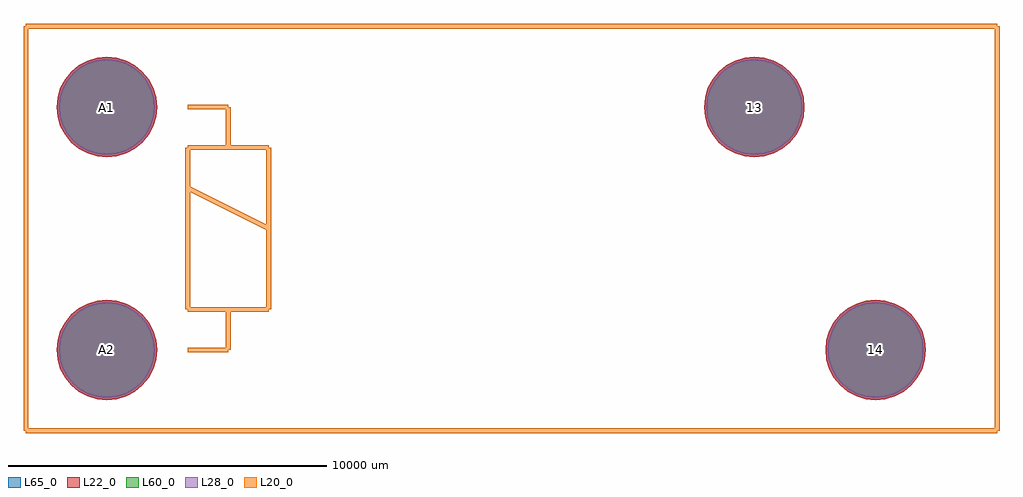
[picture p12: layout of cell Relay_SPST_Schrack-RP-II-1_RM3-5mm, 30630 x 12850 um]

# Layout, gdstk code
import gdstk
lib = gdstk.Library(unit=1e-6, precision=1e-09)
def P(c, l, *ps):  # polygons
    for p in ps: c.add(gdstk.Polygon(p, *l))
L20_0 = (20, 0)
L22_0 = (22, 0)
L28_0 = (28, 0)
L60_0 = (60, 0)
L65_0 = (65, 0)

relay_spst_schrack_rp_ii = lib.new_cell('Relay_SPST_Schrack-RP-II-1_RM3-5mm')
P(relay_spst_schrack_rp_ii, L22_0, [(25704.87,0),(25674.609,307.242),(25584.99,602.677),(25439.457,874.951),(25243.601,1113.601),(25004.951,1309.457),(24732.677,1454.99),(24437.242,1544.609),(24130,1574.87),(23822.758,1544.609),(23527.323,1454.99),(23255.049,1309.457),(23016.399,1113.601),(22820.543,874.951),(22675.01,602.677),(22585.391,307.242),(22555.13,0),(22585.391,-307.242),(22675.01,-602.677),(22820.543,-874.951),(23016.399,-1113.601),(23255.049,-1309.457),(23527.323,-1454.99),(23822.758,-1544.609),(24130,-1574.87),(24437.242,-1544.609),(24732.677,-1454.99),(25004.951,-1309.457),(25243.601,-1113.601),(25439.457,-874.951),(25584.99,-602.677),(25674.609,-307.242)],
  [(21894.87,7620),(21864.609,7927.242),(21774.99,8222.677),(21629.457,8494.951),(21433.601,8733.601),(21194.951,8929.457),(20922.677,9074.99),(20627.242,9164.609),(20320,9194.87),(20012.758,9164.609),(19717.323,9074.99),(19445.049,8929.457),(19206.399,8733.601),(19010.543,8494.951),(18865.01,8222.677),(18775.391,7927.242),(18745.13,7620),(18775.391,7312.758),(18865.01,7017.323),(19010.543,6745.049),(19206.399,6506.399),(19445.049,6310.543),(19717.323,6165.01),(20012.758,6075.391),(20320,6045.13),(20627.242,6075.391),(20922.677,6165.01),(21194.951,6310.543),(21433.601,6506.399),(21629.457,6745.049),(21774.99,7017.323),(21864.609,7312.758)],
  [(1574.87,0),(1544.609,307.242),(1454.99,602.677),(1309.457,874.951),(1113.601,1113.601),(874.951,1309.457),(602.677,1454.99),(307.242,1544.609),(0,1574.87),(-307.242,1544.609),(-602.677,1454.99),(-874.951,1309.457),(-1113.601,1113.601),(-1309.457,874.951),(-1454.99,602.677),(-1544.609,307.242),(-1574.87,0),(-1544.609,-307.242),(-1454.99,-602.677),(-1309.457,-874.951),(-1113.601,-1113.601),(-874.951,-1309.457),(-602.677,-1454.99),(-307.242,-1544.609),(0,-1574.87),(307.242,-1544.609),(602.677,-1454.99),(874.951,-1309.457),(1113.601,-1113.601),(1309.457,-874.951),(1454.99,-602.677),(1544.609,-307.242)],
  [(1574.87,7620),(1544.609,7927.242),(1454.99,8222.677),(1309.457,8494.951),(1113.601,8733.601),(874.951,8929.457),(602.677,9074.99),(307.242,9164.609),(0,9194.87),(-307.242,9164.609),(-602.677,9074.99),(-874.951,8929.457),(-1113.601,8733.601),(-1309.457,8494.951),(-1454.99,8222.677),(-1544.609,7927.242),(-1574.87,7620),(-1544.609,7312.758),(-1454.99,7017.323),(-1309.457,6745.049),(-1113.601,6506.399),(-874.951,6310.543),(-602.677,6165.01),(-307.242,6075.391),(0,6045.13),(307.242,6075.391),(602.677,6165.01),(874.951,6310.543),(1113.601,6506.399),(1309.457,6745.049),(1454.99,7017.323),(1544.609,7312.758)])
P(relay_spst_schrack_rp_ii, L28_0, [(25629.87,0),(25601.05,292.61),(25515.699,573.975),(25377.096,833.283),(25190.568,1060.568),(24963.283,1247.096),(24703.975,1385.699),(24422.61,1471.05),(24130,1499.87),(23837.39,1471.05),(23556.025,1385.699),(23296.717,1247.096),(23069.432,1060.568),(22882.904,833.283),(22744.301,573.975),(22658.95,292.61),(22630.13,0),(22658.95,-292.61),(22744.301,-573.975),(22882.904,-833.283),(23069.432,-1060.568),(23296.717,-1247.096),(23556.025,-1385.699),(23837.39,-1471.05),(24130,-1499.87),(24422.61,-1471.05),(24703.975,-1385.699),(24963.283,-1247.096),(25190.568,-1060.568),(25377.096,-833.283),(25515.699,-573.975),(25601.05,-292.61)],
  [(21819.87,7620),(21791.05,7912.61),(21705.699,8193.975),(21567.096,8453.283),(21380.568,8680.568),(21153.283,8867.096),(20893.975,9005.699),(20612.61,9091.05),(20320,9119.87),(20027.39,9091.05),(19746.025,9005.699),(19486.717,8867.096),(19259.432,8680.568),(19072.904,8453.283),(18934.301,8193.975),(18848.95,7912.61),(18820.13,7620),(18848.95,7327.39),(18934.301,7046.025),(19072.904,6786.717),(19259.432,6559.432),(19486.717,6372.904),(19746.025,6234.301),(20027.39,6148.95),(20320,6120.13),(20612.61,6148.95),(20893.975,6234.301),(21153.283,6372.904),(21380.568,6559.432),(21567.096,6786.717),(21705.699,7046.025),(21791.05,7327.39)],
  [(1499.87,0),(1471.05,292.61),(1385.699,573.975),(1247.096,833.283),(1060.568,1060.568),(833.283,1247.096),(573.975,1385.699),(292.61,1471.05),(0,1499.87),(-292.61,1471.05),(-573.975,1385.699),(-833.283,1247.096),(-1060.568,1060.568),(-1247.096,833.283),(-1385.699,573.975),(-1471.05,292.61),(-1499.87,0),(-1471.05,-292.61),(-1385.699,-573.975),(-1247.096,-833.283),(-1060.568,-1060.568),(-833.283,-1247.096),(-573.975,-1385.699),(-292.61,-1471.05),(0,-1499.87),(292.61,-1471.05),(573.975,-1385.699),(833.283,-1247.096),(1060.568,-1060.568),(1247.096,-833.283),(1385.699,-573.975),(1471.05,-292.61)],
  [(1499.87,7620),(1471.05,7912.61),(1385.699,8193.975),(1247.096,8453.283),(1060.568,8680.568),(833.283,8867.096),(573.975,9005.699),(292.61,9091.05),(0,9119.87),(-292.61,9091.05),(-573.975,9005.699),(-833.283,8867.096),(-1060.568,8680.568),(-1247.096,8453.283),(-1385.699,8193.975),(-1471.05,7912.61),(-1499.87,7620),(-1471.05,7327.39),(-1385.699,7046.025),(-1247.096,6786.717),(-1060.568,6559.432),(-833.283,6372.904),(-573.975,6234.301),(-292.61,6148.95),(0,6120.13),(292.61,6148.95),(573.975,6234.301),(833.283,6372.904),(1060.568,6559.432),(1247.096,6786.717),(1385.699,7046.025),(1471.05,7327.39)])
P(relay_spst_schrack_rp_ii, L60_0, [(25629.87,0),(25601.05,292.61),(25515.699,573.975),(25377.096,833.283),(25190.568,1060.568),(24963.283,1247.096),(24703.975,1385.699),(24422.61,1471.05),(24130,1499.87),(23837.39,1471.05),(23556.025,1385.699),(23296.717,1247.096),(23069.432,1060.568),(22882.904,833.283),(22744.301,573.975),(22658.95,292.61),(22630.13,0),(22658.95,-292.61),(22744.301,-573.975),(22882.904,-833.283),(23069.432,-1060.568),(23296.717,-1247.096),(23556.025,-1385.699),(23837.39,-1471.05),(24130,-1499.87),(24422.61,-1471.05),(24703.975,-1385.699),(24963.283,-1247.096),(25190.568,-1060.568),(25377.096,-833.283),(25515.699,-573.975),(25601.05,-292.61)],
  [(21819.87,7620),(21791.05,7912.61),(21705.699,8193.975),(21567.096,8453.283),(21380.568,8680.568),(21153.283,8867.096),(20893.975,9005.699),(20612.61,9091.05),(20320,9119.87),(20027.39,9091.05),(19746.025,9005.699),(19486.717,8867.096),(19259.432,8680.568),(19072.904,8453.283),(18934.301,8193.975),(18848.95,7912.61),(18820.13,7620),(18848.95,7327.39),(18934.301,7046.025),(19072.904,6786.717),(19259.432,6559.432),(19486.717,6372.904),(19746.025,6234.301),(20027.39,6148.95),(20320,6120.13),(20612.61,6148.95),(20893.975,6234.301),(21153.283,6372.904),(21380.568,6559.432),(21567.096,6786.717),(21705.699,7046.025),(21791.05,7327.39)],
  [(1499.87,0),(1471.05,292.61),(1385.699,573.975),(1247.096,833.283),(1060.568,1060.568),(833.283,1247.096),(573.975,1385.699),(292.61,1471.05),(0,1499.87),(-292.61,1471.05),(-573.975,1385.699),(-833.283,1247.096),(-1060.568,1060.568),(-1247.096,833.283),(-1385.699,573.975),(-1471.05,292.61),(-1499.87,0),(-1471.05,-292.61),(-1385.699,-573.975),(-1247.096,-833.283),(-1060.568,-1060.568),(-833.283,-1247.096),(-573.975,-1385.699),(-292.61,-1471.05),(0,-1499.87),(292.61,-1471.05),(573.975,-1385.699),(833.283,-1247.096),(1060.568,-1060.568),(1247.096,-833.283),(1385.699,-573.975),(1471.05,-292.61)],
  [(1499.87,7620),(1471.05,7912.61),(1385.699,8193.975),(1247.096,8453.283),(1060.568,8680.568),(833.283,8867.096),(573.975,9005.699),(292.61,9091.05),(0,9119.87),(-292.61,9091.05),(-573.975,9005.699),(-833.283,8867.096),(-1060.568,8680.568),(-1247.096,8453.283),(-1385.699,8193.975),(-1471.05,7912.61),(-1499.87,7620),(-1471.05,7327.39),(-1385.699,7046.025),(-1247.096,6786.717),(-1060.568,6559.432),(-833.283,6372.904),(-573.975,6234.301),(-292.61,6148.95),(0,6120.13),(292.61,6148.95),(573.975,6234.301),(833.283,6372.904),(1060.568,6559.432),(1247.096,6786.717),(1385.699,7046.025),(1471.05,7327.39)])
P(relay_spst_schrack_rp_ii, L65_0, [(25704.87,0),(25674.609,307.242),(25584.99,602.677),(25439.457,874.951),(25243.601,1113.601),(25004.951,1309.457),(24732.677,1454.99),(24437.242,1544.609),(24130,1574.87),(23822.758,1544.609),(23527.323,1454.99),(23255.049,1309.457),(23016.399,1113.601),(22820.543,874.951),(22675.01,602.677),(22585.391,307.242),(22555.13,0),(22585.391,-307.242),(22675.01,-602.677),(22820.543,-874.951),(23016.399,-1113.601),(23255.049,-1309.457),(23527.323,-1454.99),(23822.758,-1544.609),(24130,-1574.87),(24437.242,-1544.609),(24732.677,-1454.99),(25004.951,-1309.457),(25243.601,-1113.601),(25439.457,-874.951),(25584.99,-602.677),(25674.609,-307.242)],
  [(21894.87,7620),(21864.609,7927.242),(21774.99,8222.677),(21629.457,8494.951),(21433.601,8733.601),(21194.951,8929.457),(20922.677,9074.99),(20627.242,9164.609),(20320,9194.87),(20012.758,9164.609),(19717.323,9074.99),(19445.049,8929.457),(19206.399,8733.601),(19010.543,8494.951),(18865.01,8222.677),(18775.391,7927.242),(18745.13,7620),(18775.391,7312.758),(18865.01,7017.323),(19010.543,6745.049),(19206.399,6506.399),(19445.049,6310.543),(19717.323,6165.01),(20012.758,6075.391),(20320,6045.13),(20627.242,6075.391),(20922.677,6165.01),(21194.951,6310.543),(21433.601,6506.399),(21629.457,6745.049),(21774.99,7017.323),(21864.609,7312.758)],
  [(1574.87,0),(1544.609,307.242),(1454.99,602.677),(1309.457,874.951),(1113.601,1113.601),(874.951,1309.457),(602.677,1454.99),(307.242,1544.609),(0,1574.87),(-307.242,1544.609),(-602.677,1454.99),(-874.951,1309.457),(-1113.601,1113.601),(-1309.457,874.951),(-1454.99,602.677),(-1544.609,307.242),(-1574.87,0),(-1544.609,-307.242),(-1454.99,-602.677),(-1309.457,-874.951),(-1113.601,-1113.601),(-874.951,-1309.457),(-602.677,-1454.99),(-307.242,-1544.609),(0,-1574.87),(307.242,-1544.609),(602.677,-1454.99),(874.951,-1309.457),(1113.601,-1113.601),(1309.457,-874.951),(1454.99,-602.677),(1544.609,-307.242)],
  [(1574.87,7620),(1544.609,7927.242),(1454.99,8222.677),(1309.457,8494.951),(1113.601,8733.601),(874.951,8929.457),(602.677,9074.99),(307.242,9164.609),(0,9194.87),(-307.242,9164.609),(-602.677,9074.99),(-874.951,8929.457),(-1113.601,8733.601),(-1309.457,8494.951),(-1454.99,8222.677),(-1544.609,7927.242),(-1574.87,7620),(-1544.609,7312.758),(-1454.99,7017.323),(-1309.457,6745.049),(-1113.601,6506.399),(-874.951,6310.543),(-602.677,6165.01),(-307.242,6075.391),(0,6045.13),(307.242,6075.391),(602.677,6165.01),(874.951,6310.543),(1113.601,6506.399),(1309.457,6745.049),(1454.99,7017.323),(1544.609,7312.758)])
relay_spst_schrack_rp_ii.add(gdstk.FlexPath([(-2540,-2540),(-2540,10160)], 149.998, ends="flush", simple_path=True, layer=20, datatype=0))  # L20_0
relay_spst_schrack_rp_ii.add(gdstk.FlexPath([(27940,-2540),(-2540,-2540)], 149.998, ends="flush", simple_path=True, layer=20, datatype=0))  # L20_0
relay_spst_schrack_rp_ii.add(gdstk.FlexPath([(27940,10160),(27940,-2540)], 149.998, ends="flush", simple_path=True, layer=20, datatype=0))  # L20_0
relay_spst_schrack_rp_ii.add(gdstk.FlexPath([(-2540,10160),(27940,10160)], 149.998, ends="flush", simple_path=True, layer=20, datatype=0))  # L20_0
relay_spst_schrack_rp_ii.add(gdstk.FlexPath([(2540,6350),(3810,6350)], 149.998, ends="flush", simple_path=True, layer=20, datatype=0))  # L20_0
relay_spst_schrack_rp_ii.add(gdstk.FlexPath([(2540,1270),(2540,6350)], 149.998, ends="flush", simple_path=True, layer=20, datatype=0))  # L20_0
relay_spst_schrack_rp_ii.add(gdstk.FlexPath([(5080,1270),(2540,1270)], 149.998, ends="flush", simple_path=True, layer=20, datatype=0))  # L20_0
relay_spst_schrack_rp_ii.add(gdstk.FlexPath([(5080,6350),(5080,1270)], 149.998, ends="flush", simple_path=True, layer=20, datatype=0))  # L20_0
relay_spst_schrack_rp_ii.add(gdstk.FlexPath([(3810,6350),(5080,6350)], 149.998, ends="flush", simple_path=True, layer=20, datatype=0))  # L20_0
relay_spst_schrack_rp_ii.add(gdstk.FlexPath([(3810,7620),(3810,6350)], 149.998, ends="flush", simple_path=True, layer=20, datatype=0))  # L20_0
relay_spst_schrack_rp_ii.add(gdstk.FlexPath([(2540,7620),(3810,7620)], 149.998, ends="flush", simple_path=True, layer=20, datatype=0))  # L20_0
relay_spst_schrack_rp_ii.add(gdstk.FlexPath([(3810,0),(2540,0)], 149.998, ends="flush", simple_path=True, layer=20, datatype=0))  # L20_0
relay_spst_schrack_rp_ii.add(gdstk.FlexPath([(3810,1270),(3810,0)], 149.998, ends="flush", simple_path=True, layer=20, datatype=0))  # L20_0
relay_spst_schrack_rp_ii.add(gdstk.FlexPath([(2540,5080),(5080,3810)], 149.998, ends="flush", simple_path=True, layer=20, datatype=0))  # L20_0
relay_spst_schrack_rp_ii.add(gdstk.Label('14', (24130,0), layer=28, texttype=0))
relay_spst_schrack_rp_ii.add(gdstk.Label('13', (20320,7620), layer=28, texttype=0))
relay_spst_schrack_rp_ii.add(gdstk.Label('A2', (0,0), layer=28, texttype=0))
relay_spst_schrack_rp_ii.add(gdstk.Label('A1', (0,7620), layer=28, texttype=0))
relay_spst_schrack_rp_ii.add(gdstk.Label('type', (13970,-3810), layer=9, texttype=0))
relay_spst_schrack_rp_ii.add(gdstk.Label('devicename', (12700,11176), layer=9, texttype=0))

lib.write_gds('Relay_SPST_Schrack-RP-II-1_RM3-5mm.gds')
